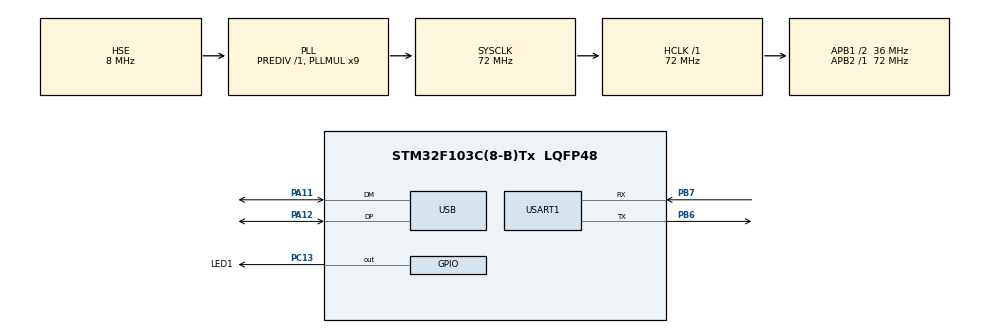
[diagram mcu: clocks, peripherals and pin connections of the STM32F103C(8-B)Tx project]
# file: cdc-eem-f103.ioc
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Mcu.Family=STM32F1
Mcu.Name=STM32F103C(8-B)Tx
Mcu.Package=LQFP48
NVIC.PriorityGroup=NVIC_PRIORITYGROUP_4
NVIC.USART1_IRQn=true\:0\:0\:false\:false\:true
NVIC.USB_LP_CAN1_RX0_IRQn=true\:0\:0\:false\:false\:true
PA11.Mode=Device
PA11.Signal=USB_DM
PA12.Mode=Device
PA12.Signal=USB_DP
PA13.Mode=Serial_Wire
PA13.Signal=SYS_JTMS-SWDIO
PA14.Mode=Serial_Wire
PA14.Signal=SYS_JTCK-SWCLK
PB6.Mode=Asynchronous
PB6.Signal=USART1_TX
PB7.Mode=Asynchronous
PB7.Signal=USART1_RX
PC13-TAMPER-RTC.GPIO_Label=LED1
PC13-TAMPER-RTC.GPIO_ModeDefaultOutputPP=GPIO_MODE_OUTPUT_OD
PC13-TAMPER-RTC.Signal=GPIO_Output
PD0-OSC_IN.Mode=HSE-External-Oscillator
PD0-OSC_IN.Signal=RCC_OSC_IN
PD1-OSC_OUT.Mode=HSE-External-Oscillator
PD1-OSC_OUT.Signal=RCC_OSC_OUT
ProjectManager.HeapSize=0x1000
ProjectManager.StackSize=0x400
ProjectManager.TargetToolchain=MDK-ARM V5
RCC.AHBFreq_Value=72000000
RCC.APB1CLKDivider=RCC_HCLK_DIV2
RCC.APB1Freq_Value=36000000
RCC.APB1TimFreq_Value=72000000
RCC.APB2Freq_Value=72000000
RCC.APB2TimFreq_Value=72000000
RCC.ClockTypeHCLK=RCC_CLOCKTYPE_HCLK
RCC.ClockTypePCLK1=RCC_CLOCKTYPE_PCLK1
RCC.ClockTypePCLK2=RCC_CLOCKTYPE_PCLK2
RCC.EnableHSE=true
RCC.EnableHSERTCDevisor=false
RCC.EnableLSE=false
RCC.EnableLSERTC=false
RCC.EnableMCOMultDivisor=false
RCC.HCLKFreq_Value=72000000
RCC.HSEState=RCC_HSE_ON
RCC.HSIState=RCC_HSI_ON
RCC.IWDGEnable=false
RCC.LSIState=RCC_LSI_OFF
RCC.MCOEnable=false
RCC.OscillatorTypeHSE=RCC_OSCILLATORTYPE_HSE
RCC.PLLMUL=RCC_PLL_MUL9
RCC.PLLSource=RCC_PLLSOURCE_HSE
RCC.PLLSourceVirtual=RCC_PLLSOURCE_HSE
RCC.PLLState=RCC_PLL_ON
RCC.RTCEnable=false
RCC.SYSCLKFreq_VALUE=72000000
RCC.SYSCLKSource=RCC_SYSCLKSOURCE_PLLCLK
RCC.USBFreq_Value=48000000
RCC.USBPrescaler=RCC_USBCLKSOURCE_PLL_DIV1_5
USART1.HwFlowCtl-Asynchronous=UART_HWCONTROL_NONE
USART1.VirtualMode=VM_ASYNC
USB_DEVICE.CLASS_NAME=CDC
USB_DEVICE.CLASS_NAME_FS=CDC
USB_DEVICE.USBD_HandleTypeDef=hUsbDeviceFS
USB_DEVICE.USBD_HandleTypeDef_FS=hUsbDevice_USB_FS
USB_DEVICE.VirtualMode=Cdc
USB_DEVICE.VirtualModeFS=Cdc_FS
USB_DEVICE.hUsbDevice=hDeviceDuSmolt
VP_USB_DEVICE_VS_USB_DEVICE_CDC_FS.Mode=CDC_FS
board=cdc-eem-f103

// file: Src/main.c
/**
  ******************************************************************************
  * File Name          : main.c
  * Description        : Main program body
  ******************************************************************************
  *
  * Copyright (c) 2017 STMicroelectronics International N.V.
  * All rights reserved.
  *
  * Redistribution and use in source and binary forms, with or without
  * modification, are permitted, provided that the following conditions are met:
  *
  * 1. Redistribution of source code must retain the above copyright notice,
  *    this list of conditions and the following disclaimer.
  * 2. Redistributions in binary form must reproduce the above copyright notice,
  *    this list of conditions and the following disclaimer in the documentation
  *    and/or other materials provided with the distribution.
  * 3. Neither the name of STMicroelectronics nor the names of other
  *    contributors to this software may be used to endorse or promote products
  *    derived from this software without specific written permission.
  * 4. This software, including modifications and/or derivative works of this
  *    software, must execute solely and exclusively on microcontroller or
  *    microprocessor devices manufactured by or for STMicroelectronics.
  * 5. Redistribution and use of this software other than as permitted under
  *    this license is void and will automatically terminate your rights under
  *    this license.
  *
  * THIS SOFTWARE IS PROVIDED BY STMICROELECTRONICS AND CONTRIBUTORS "AS IS"
  * AND ANY EXPRESS, IMPLIED OR STATUTORY WARRANTIES, INCLUDING, BUT NOT
  * LIMITED TO, THE IMPLIED WARRANTIES OF MERCHANTABILITY, FITNESS FOR A
  * PARTICULAR PURPOSE AND NON-INFRINGEMENT OF THIRD PARTY INTELLECTUAL PROPERTY
  * RIGHTS ARE DISCLAIMED TO THE FULLEST EXTENT PERMITTED BY LAW. IN NO EVENT
  * SHALL STMICROELECTRONICS OR CONTRIBUTORS BE LIABLE FOR ANY DIRECT, INDIRECT,
  * INCIDENTAL, SPECIAL, EXEMPLARY, OR CONSEQUENTIAL DAMAGES (INCLUDING, BUT NOT
  * LIMITED TO, PROCUREMENT OF SUBSTITUTE GOODS OR SERVICES; LOSS OF USE, DATA,
  * OR PROFITS; OR BUSINESS INTERRUPTION) HOWEVER CAUSED AND ON ANY THEORY OF
  * LIABILITY, WHETHER IN CONTRACT, STRICT LIABILITY, OR TORT (INCLUDING
  * NEGLIGENCE OR OTHERWISE) ARISING IN ANY WAY OUT OF THE USE OF THIS SOFTWARE,
  * EVEN IF ADVISED OF THE POSSIBILITY OF SUCH DAMAGE.
  *
  ******************************************************************************
  */
#include "main.h"
#include "stm32f1xx_hal.h"
#include "usb_device.h"

/* USER CODE BEGIN Includes */
//!!!
#include "usbd_cdc_eem.h"
#include "usbd_cdc_eem_if.h"
#include "usbd_buffers.h"
#include "timer.h"
#include "uip.h"
#include "uip_arp.h"

/* USER CODE END Includes */

UART_HandleTypeDef huart1;

/* USER CODE BEGIN PV */
/* Private variables ---------------------------------------------------------*/

/* USER CODE END PV */

void SystemClock_Config(void);
void Error_Handler(void);
static void MX_GPIO_Init(void);
static void MX_USART1_UART_Init(void);

/* USER CODE BEGIN PFP */
/* Private function prototypes -----------------------------------------------*/

/* USER CODE END PFP */

/* USER CODE BEGIN 0 */
uint8_t *uip_buf;
#define BUF ((struct uip_eth_hdr *)&uip_buf[0])

static uint32_t eem_add_crc(uint8_t*buf, uint32_t ip_len){
  buf[ip_len++] = 0xDE;
  buf[ip_len++] = 0xAD;
  buf[ip_len++] = 0xBE;
  buf[ip_len++] = 0xEF;
  return ip_len;
}

static uint32_t process_incoming_packet(USBD_CDC_EEM_HandleTypeDef*hcdc){
  uip_buf = hcdc->tx_buffer + 2;
  uip_len = get_eem_pkt_size(hcdc->tx_buffer);

  if (uip_len > 0) {
    if (BUF->type == htons(UIP_ETHTYPE_IP)) {
      uip_arp_ipin();
      uip_input();
      /* If the above function invocation resulted in data that
         should be sent out on the network, the global variable
         uip_len is set to a value > 0. */
      if(uip_len > 0) {
        uip_arp_out();
        uip_len = eem_add_crc(uip_buf, uip_len /*DEADBEEF*/);
        set_eem_pkt_size(hcdc->tx_buffer, uip_len);
        uip_len += 2;
        /* send data */
      }else{
        uip_len = 0;
      }
    } else if (BUF->type == htons(UIP_ETHTYPE_ARP)) {
      uip_arp_arpin();
      /* If the above function invocation resulted in data that
         should be sent out on the network, the global variable
         uip_len is set to a value > 0. */
      if (uip_len > 0) {
        uip_len = eem_add_crc(uip_buf, uip_len /*DEADBEEF*/);
        set_eem_pkt_size(hcdc->tx_buffer, uip_len);
        uip_len += 2;
        /* send data */
      }else{
        uip_len = 0;
      }
    }else{ /* ipv6 and other */
      uip_len = 0;
    }
  }
  return uip_len;
}

static uint32_t process_ip_timers(USBD_CDC_EEM_HandleTypeDef*hcdc,
                                  struct timer *periodic_timer,
                                  struct timer *arp_timer){

  uint32_t i;

  uip_buf = hcdc->tx_buffer + 2;
  uip_len = 0;

  if (timer_expired(periodic_timer)) {
    timer_reset(periodic_timer);
    for(i = 0; i < UIP_CONNS; i++) {
      uip_periodic(i);
      /* If the above function invocation resulted in data that
         should be sent out on the network, the global variable
         uip_len is set to a value > 0. */
      if(uip_len > 0) {
        uip_arp_out();
        uip_len = eem_add_crc(uip_buf, uip_len /*DEADBEEF*/);
        set_eem_pkt_size(hcdc->tx_buffer, uip_len);
        uip_len += 2;
        hcdc->tx_length = uip_len;
        while( USBD_CDC_EEM_TransmitPacket(&hUsbDeviceFS, EEM_TRANSMITTER_SEND_DATA) == USBD_BUSY)
          ;
      }
    }

#if UIP_UDP
    for(i = 0; i < UIP_UDP_CONNS; i++) {
      uip_udp_periodic(i);
      /* If the above function invocation resulted in data that
         should be sent out on the network, the global variable
         uip_len is set to a value > 0. */
      if(uip_len > 0) {
        uip_arp_out();
        uip_len = eem_add_crc(uip_buf, uip_len /*DEADBEEF*/);
        set_eem_pkt_size(hcdc->tx_buffer, ip_len);
        uip_len += 2;
        hcdc->tx_length = ip_len;
        while( USBD_CDC_EEM_TransmitPacket(&hUsbDeviceFS, EEM_TRANSMITTER_SEND_DATA) == USBD_BUSY)
          ;
      }
    }
#endif /* UIP_UDP */
    /* Call the ARP timer function every 10 seconds. */
    if (timer_expired(arp_timer)) {
      timer_reset(arp_timer);
      uip_arp_timer();
    }
  }else{
    /* send zero eem packet */
#if 0 /* code added for experiment */
    hcdc->tx_buffer[0] = 0;
    hcdc->tx_buffer[1] = 0;
    hcdc->tx_length = 2;
    USBD_CDC_EEM_TransmitPacket(&hUsbDeviceFS, EEM_TRANSMITTER_SEND_EEM_ZPKT);
#endif
  }
  return uip_len;
}
/* USER CODE END 0 */

int main(void) {

  /* USER CODE BEGIN 1 */
  uint32_t tx_len;
  uint8_t *buf;
  struct uip_eth_addr brd_eth_addr = {0x11,0x12,0x13,0x13,0x14,0x15};

  USBD_CDC_EEM_HandleTypeDef   *hcdc;

  uip_ipaddr_t ipaddr;
  struct timer periodic_timer, arp_timer;

  timer_set(&periodic_timer, CLOCK_SECOND / 2);
  timer_set(&arp_timer, CLOCK_SECOND * 10);

  /* USER CODE END 1 */

  /* MCU Configuration----------------------------------------------------------*/

  /* Reset of all peripherals, Initializes the Flash interface and the Systick. */
  HAL_Init();

  /* Configure the system clock */
  SystemClock_Config();

  /* Initialize all configured peripherals */
  MX_GPIO_Init();
  MX_USART1_UART_Init();
  MX_USB_DEVICE_Init();

  /* USER CODE BEGIN 2 */
  HAL_GPIO_WritePin(LED1_GPIO_Port, LED1_Pin, GPIO_PIN_SET);

  uip_init();

  uip_setethaddr(brd_eth_addr);
  uip_ipaddr(ipaddr, 10,11,12,2);
  uip_sethostaddr(ipaddr);
  uip_ipaddr(ipaddr, 255,255,255,0);
  uip_setnetmask(ipaddr);

  /* USER CODE END 2 */

  /* Infinite loop */
  /* USER CODE BEGIN WHILE */
  while(1){
    hcdc = (USBD_CDC_EEM_HandleTypeDef*) hUsbDeviceFS.pClassData;
    if (hcdc){

      if (hcdc->rx_cnt_received > hcdc->rx_cnt_sent){
        if (hcdc->rx_cnt_received > hcdc->rx_cnt_processed){
          while (hcdc->tx_state != EEM_TRANSMITTER_INITIAL)
            ;
          buf = get_eem_pkt_buffer(EEM_RX_BUFFER, hcdc->rx_cnt_processed, NULL);
          hcdc->tx_buffer = buf;
          hcdc->tx_buf_size = EEM_TX_BUFFER;
          tx_len = process_incoming_packet(hcdc);
          hcdc->rx_cnt_processed ++;

          if (!tx_len){
            /* nothing to send */
            hcdc->rx_cnt_sent ++;
          }else{
          }
          hcdc->rx_cnt_sending ++;
        }
        if (hcdc->rx_cnt_sending > hcdc->rx_cnt_sent){ /* send packet to host */
           /* rx_cnt_sent increased after packet sent in USBD_CDC_EEM_DataIn() */
           while (hcdc->tx_state != EEM_TRANSMITTER_INITIAL)
             ;
           if (hcdc->rx_cnt_sending > hcdc->rx_cnt_sent) {
             buf = get_eem_pkt_buffer(EEM_RX_BUFFER, hcdc->rx_cnt_sent, NULL);
             hcdc->tx_buffer = buf;
             hcdc->tx_length = get_eem_pkt_size(buf) + 2;
             while (USBD_CDC_EEM_TransmitPacket(&hUsbDeviceFS, EEM_TRANSMITTER_SEND_DATA) == USBD_BUSY)
               ;
           }
        }

      }else{
        while (hcdc->tx_state != EEM_TRANSMITTER_INITIAL)
          ;
        buf = get_eem_pkt_buffer(EEM_TX_BUFFER, 0, NULL);
        hcdc->tx_buffer = buf;
        hcdc->tx_buf_size = EEM_TX_BUFFER;
        process_ip_timers(hcdc,
                          &periodic_timer,
                          &arp_timer);
      }
    }
  }
  /* USER CODE END WHILE */

  /* USER CODE BEGIN 3 */
  return 0;
  /* USER CODE END 3 */
}

/** System Clock Configuration
*/
void SystemClock_Config(void)
{

  RCC_OscInitTypeDef RCC_OscInitStruct;
  RCC_ClkInitTypeDef RCC_ClkInitStruct;
  RCC_PeriphCLKInitTypeDef PeriphClkInit;

    /**Initializes the CPU, AHB and APB busses clocks
    */
  RCC_OscInitStruct.OscillatorType = RCC_OSCILLATORTYPE_HSE;
  RCC_OscInitStruct.HSEState = RCC_HSE_ON;
  RCC_OscInitStruct.HSEPredivValue = RCC_HSE_PREDIV_DIV1;
  RCC_OscInitStruct.PLL.PLLState = RCC_PLL_ON;
  RCC_OscInitStruct.PLL.PLLSource = RCC_PLLSOURCE_HSE;
  RCC_OscInitStruct.PLL.PLLMUL = RCC_PLL_MUL9;
  if (HAL_RCC_OscConfig(&RCC_OscInitStruct) != HAL_OK)
  {
    Error_Handler();
  }

    /**Initializes the CPU, AHB and APB busses clocks
    */
  RCC_ClkInitStruct.ClockType = RCC_CLOCKTYPE_HCLK|RCC_CLOCKTYPE_SYSCLK
                              |RCC_CLOCKTYPE_PCLK1|RCC_CLOCKTYPE_PCLK2;
  RCC_ClkInitStruct.SYSCLKSource = RCC_SYSCLKSOURCE_PLLCLK;
  RCC_ClkInitStruct.AHBCLKDivider = RCC_SYSCLK_DIV1;
  RCC_ClkInitStruct.APB1CLKDivider = RCC_HCLK_DIV2;
  RCC_ClkInitStruct.APB2CLKDivider = RCC_HCLK_DIV1;

  if (HAL_RCC_ClockConfig(&RCC_ClkInitStruct, FLASH_LATENCY_2) != HAL_OK)
  {
    Error_Handler();
  }

  PeriphClkInit.PeriphClockSelection = RCC_PERIPHCLK_USB;
  PeriphClkInit.UsbClockSelection = RCC_USBCLKSOURCE_PLL_DIV1_5;
  if (HAL_RCCEx_PeriphCLKConfig(&PeriphClkInit) != HAL_OK)
  {
    Error_Handler();
  }

    /**Configure the Systick interrupt time
    */
  HAL_SYSTICK_Config(HAL_RCC_GetHCLKFreq()/1000);

    /**Configure the Systick
    */
  HAL_SYSTICK_CLKSourceConfig(SYSTICK_CLKSOURCE_HCLK);

  /* SysTick_IRQn interrupt configuration */
  HAL_NVIC_SetPriority(SysTick_IRQn, 0, 0);
}

/* USART1 init function */
static void MX_USART1_UART_Init(void)
{

  huart1.Instance = USART1;
  huart1.Init.BaudRate = 115200;
  huart1.Init.WordLength = UART_WORDLENGTH_8B;
  huart1.Init.StopBits = UART_STOPBITS_1;
  huart1.Init.Parity = UART_PARITY_NONE;
  huart1.Init.Mode = UART_MODE_TX_RX;
  huart1.Init.HwFlowCtl = UART_HWCONTROL_NONE;
  huart1.Init.OverSampling = UART_OVERSAMPLING_16;
  if (HAL_UART_Init(&huart1) != HAL_OK)
  {
    Error_Handler();
  }

}

/** Configure pins as
        * Analog
        * Input
        * Output
        * EVENT_OUT
        * EXTI
*/
static void MX_GPIO_Init(void)
{

  GPIO_InitTypeDef GPIO_InitStruct;

  /* GPIO Ports Clock Enable */
  __HAL_RCC_GPIOC_CLK_ENABLE();
  __HAL_RCC_GPIOD_CLK_ENABLE();
  __HAL_RCC_GPIOA_CLK_ENABLE();
  __HAL_RCC_GPIOB_CLK_ENABLE();

  /*Configure GPIO pin Output Level */
  HAL_GPIO_WritePin(LED1_GPIO_Port, LED1_Pin, GPIO_PIN_RESET);

  /*Configure GPIO pin : LED1_Pin */
  GPIO_InitStruct.Pin = LED1_Pin;
  GPIO_InitStruct.Mode = GPIO_MODE_OUTPUT_OD;
  GPIO_InitStruct.Speed = GPIO_SPEED_FREQ_LOW;
  HAL_GPIO_Init(LED1_GPIO_Port, &GPIO_InitStruct);

}

void Error_Handler(void)
{
  while(1)
  {
  }
}

/************************ (C) COPYRIGHT STMicroelectronics *****END OF FILE****/
